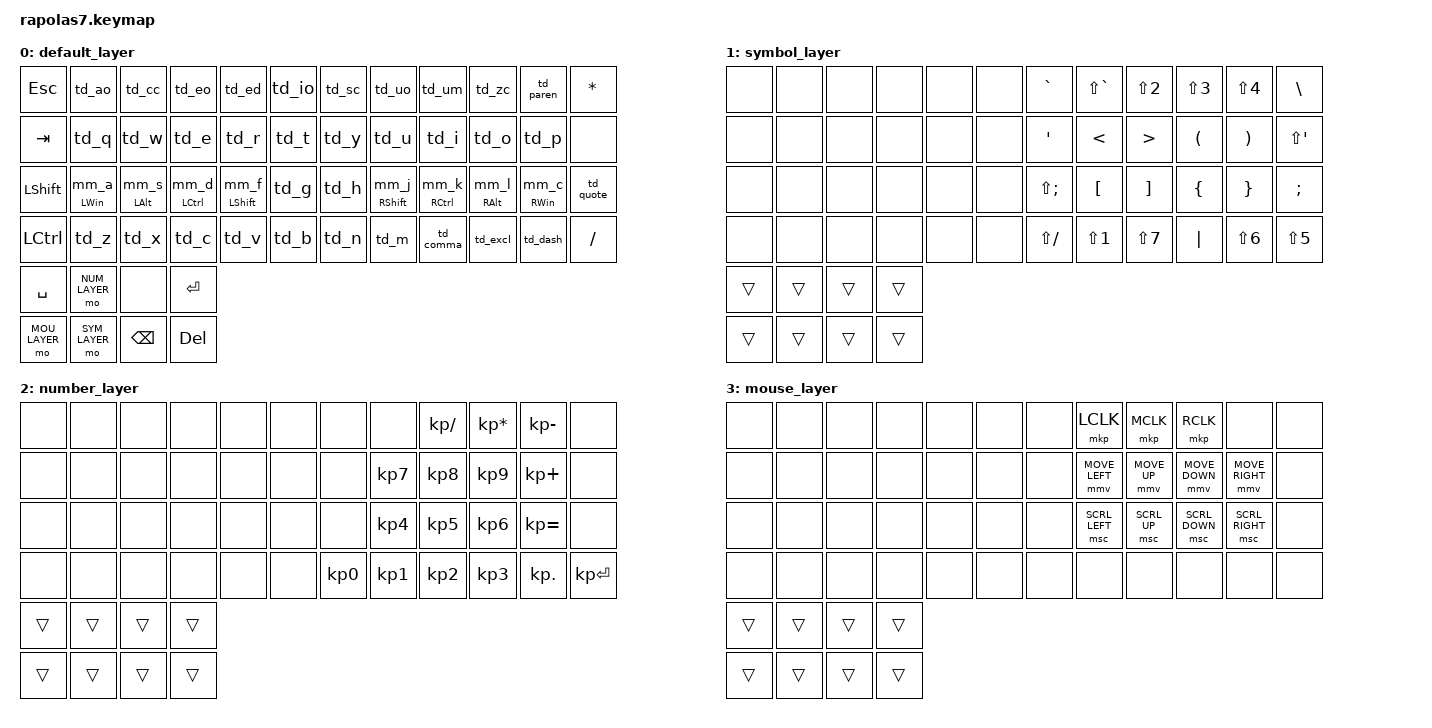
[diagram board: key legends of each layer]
#include <behaviors.dtsi>
#include <dt-bindings/zmk/keys.h>
#include <dt-bindings/zmk/mouse.h>
#include "zmk-helpers/helper.h"
#include <behaviors/unicode.dtsi>

#define KEYS_L 0 1 2 3 4 5 12 13 14 15 16 17 24 25 26 27 28 29 36 37 38 39 40 41 68 69 80 81
#define KEYS_R 6 7 8 9 10 11 18 19 20 21 22 23 30 31 32 33 34 35 42 43 44 45 46 47 69 70 82 83

#define DEF_LAYER 0
#define SYM_LAYER 1
#define NUM_LAYER 2
#define MOU_LAYER 3

/ {
    behaviors {
        /* -----------------------------------------------------------------
         * Mod-Morphs for Homerow Alpha Keys (Tap = Lowercase, Shift+Tap = Uppercase)
         * ----------------------------------------------------------------- */
        mm_a: mm_a { compatible = "zmk,behavior-mod-morph"; #binding-cells = <1>; bindings = <&kp A>, <&kp LS(A)>; mods = <(MOD_LSFT|MOD_RSFT)>; };
        mm_s: mm_s { compatible = "zmk,behavior-mod-morph"; #binding-cells = <1>; bindings = <&kp S>, <&kp LS(S)>; mods = <(MOD_LSFT|MOD_RSFT)>; };
        mm_d: mm_d { compatible = "zmk,behavior-mod-morph"; #binding-cells = <1>; bindings = <&kp D>, <&kp LS(D)>; mods = <(MOD_LSFT|MOD_RSFT)>; };
        mm_f: mm_f { compatible = "zmk,behavior-mod-morph"; #binding-cells = <1>; bindings = <&kp F>, <&kp LS(F)>; mods = <(MOD_LSFT|MOD_RSFT)>; };
        mm_j: mm_j { compatible = "zmk,behavior-mod-morph"; #binding-cells = <1>; bindings = <&kp J>, <&kp LS(J)>; mods = <(MOD_LSFT|MOD_RSFT)>; };
        mm_k: mm_k { compatible = "zmk,behavior-mod-morph"; #binding-cells = <1>; bindings = <&kp K>, <&kp LS(K)>; mods = <(MOD_LSFT|MOD_RSFT)>; };
        mm_l: mm_l { compatible = "zmk,behavior-mod-morph"; #binding-cells = <1>; bindings = <&kp L>, <&kp LS(L)>; mods = <(MOD_LSFT|MOD_RSFT)>; };
        mm_c: mm_c { compatible = "zmk,behavior-mod-morph"; #binding-cells = <1>; bindings = <&kp LS(SEMI)>, <&kp SEMI>; mods = <(MOD_LSFT|MOD_RSFT)>; };

        /* -----------------------------------------------------------------
         * Homerow Mod Hold-Taps paired with Mod-Morphs
         * ----------------------------------------------------------------- */
        hm_a: homerow_mod_a {
            compatible = "zmk,behavior-hold-tap";
            #binding-cells = <2>;
            flavor = "balanced";
            require-prior-idle-ms = <150>;
            tapping-term-ms = <280>;
            quick-tap-ms = <175>;
            bindings = <&kp>, <&mm_a>;
            hold-trigger-key-positions = <KEYS_R>;
            hold-trigger-on-release;
        };

        hm_s: homerow_mod_s {
            compatible = "zmk,behavior-hold-tap";
            #binding-cells = <2>;
            flavor = "balanced";
            tapping-term-ms = <280>;
            quick-tap-ms = <175>;
            require-prior-idle-ms = <150>;
            bindings = <&kp>, <&mm_s>;
            hold-trigger-key-positions = <KEYS_R>;
            hold-trigger-on-release;
        };

        hm_d: homerow_mod_d {
            compatible = "zmk,behavior-hold-tap";
            #binding-cells = <2>;
            flavor = "balanced";
            tapping-term-ms = <280>;
            quick-tap-ms = <175>;
            require-prior-idle-ms = <150>;
            bindings = <&kp>, <&mm_d>;
            hold-trigger-key-positions = <KEYS_R>;
            hold-trigger-on-release;
        };

        hm_f: homerow_mod_f {
            compatible = "zmk,behavior-hold-tap";
            #binding-cells = <2>;
            flavor = "balanced";
            tapping-term-ms = <280>;
            quick-tap-ms = <175>;
            require-prior-idle-ms = <150>;
            bindings = <&kp>, <&mm_f>;
            hold-trigger-key-positions = <KEYS_R>;
            hold-trigger-on-release;
        };

        hm_j: homerow_mod_j {
            compatible = "zmk,behavior-hold-tap";
            #binding-cells = <2>;
            flavor = "balanced";
            tapping-term-ms = <280>;
            quick-tap-ms = <175>;
            require-prior-idle-ms = <150>;
            bindings = <&kp>, <&mm_j>;
            hold-trigger-key-positions = <KEYS_L>;
            hold-trigger-on-release;
        };

        hm_k: homerow_mod_k {
            compatible = "zmk,behavior-hold-tap";
            #binding-cells = <2>;
            flavor = "balanced";
            tapping-term-ms = <280>;
            quick-tap-ms = <175>;
            require-prior-idle-ms = <150>;
            bindings = <&kp>, <&mm_k>;
            hold-trigger-key-positions = <KEYS_L>;
            hold-trigger-on-release;
        };

        hm_l: homerow_mod_l {
            compatible = "zmk,behavior-hold-tap";
            #binding-cells = <2>;
            flavor = "balanced";
            tapping-term-ms = <280>;
            quick-tap-ms = <175>;
            require-prior-idle-ms = <150>;
            bindings = <&kp>, <&mm_l>;
            hold-trigger-key-positions = <KEYS_L>;
            hold-trigger-on-release;
        };

        hm_c: homerow_mod_colon {
            compatible = "zmk,behavior-hold-tap";
            #binding-cells = <2>;
            flavor = "balanced";
            tapping-term-ms = <280>;
            quick-tap-ms = <175>;
            require-prior-idle-ms = <150>;
            bindings = <&kp>, <&mm_c>;
            hold-trigger-key-positions = <KEYS_L>;
            hold-trigger-on-release;
        };

        thumb_ht: thumb_layer_tap {
            compatible = "zmk,behavior-hold-tap";
            #binding-cells = <2>;
            flavor = "hold-preferred";
            tapping-term-ms = <200>;
            quick-tap-ms = <150>;
            bindings = <&mo>, <&kp>;
        };

        thumb_mt: thumb_mod_tap {
            compatible = "zmk,behavior-hold-tap";
            #binding-cells = <2>;
            flavor = "balanced";
            tapping-term-ms = <200>;
            quick-tap-ms = <175>;
            bindings = <&kp>, <&kp>;
        };

        /* Non-homerow Tap Dances (0-cell bindings safe on standard keys) */
        td_ao: td_ao { compatible = "zmk,behavior-tap-dance"; #binding-cells = <0>; tapping-term-ms = <200>; bindings = <&uc 0x0105 0>, <&uc 0x0104 0>; };
        td_cc: td_cc { compatible = "zmk,behavior-tap-dance"; #binding-cells = <0>; tapping-term-ms = <200>; bindings = <&uc 0x010D 0>, <&uc 0x010C 0>; };
        td_eo: td_eo { compatible = "zmk,behavior-tap-dance"; #binding-cells = <0>; tapping-term-ms = <200>; bindings = <&uc 0x0119 0>, <&uc 0x0118 0>; };
        td_ed: td_ed { compatible = "zmk,behavior-tap-dance"; #binding-cells = <0>; tapping-term-ms = <200>; bindings = <&uc 0x0117 0>, <&uc 0x0116 0>; };
        td_io: td_io { compatible = "zmk,behavior-tap-dance"; #binding-cells = <0>; tapping-term-ms = <200>; bindings = <&uc 0x012F 0>, <&uc 0x012E 0>; };
        td_sc: td_sc { compatible = "zmk,behavior-tap-dance"; #binding-cells = <0>; tapping-term-ms = <200>; bindings = <&uc 0x0161 0>, <&uc 0x0160 0>; };
        td_uo: td_uo { compatible = "zmk,behavior-tap-dance"; #binding-cells = <0>; tapping-term-ms = <200>; bindings = <&uc 0x0173 0>, <&uc 0x0172 0>; };
        td_um: td_um { compatible = "zmk,behavior-tap-dance"; #binding-cells = <0>; tapping-term-ms = <200>; bindings = <&uc 0x016B 0>, <&uc 0x016A 0>; };
        td_zc: td_zc { compatible = "zmk,behavior-tap-dance"; #binding-cells = <0>; tapping-term-ms = <200>; bindings = <&uc 0x017E 0>, <&uc 0x017D 0>; };

        td_q: td_q { compatible = "zmk,behavior-tap-dance"; #binding-cells = <0>; tapping-term-ms = <200>; bindings = <&kp Q>, <&kp LS(Q)>; };
        td_w: td_w { compatible = "zmk,behavior-tap-dance"; #binding-cells = <0>; tapping-term-ms = <200>; bindings = <&kp W>, <&kp LS(W)>; };
        td_e: td_e { compatible = "zmk,behavior-tap-dance"; #binding-cells = <0>; tapping-term-ms = <200>; bindings = <&kp E>, <&kp LS(E)>; };
        td_r: td_r { compatible = "zmk,behavior-tap-dance"; #binding-cells = <0>; tapping-term-ms = <200>; bindings = <&kp R>, <&kp LS(R)>; };
        td_t: td_t { compatible = "zmk,behavior-tap-dance"; #binding-cells = <0>; tapping-term-ms = <200>; bindings = <&kp T>, <&kp LS(T)>; };
        td_y: td_y { compatible = "zmk,behavior-tap-dance"; #binding-cells = <0>; tapping-term-ms = <200>; bindings = <&kp Y>, <&kp LS(Y)>; };
        td_u: td_u { compatible = "zmk,behavior-tap-dance"; #binding-cells = <0>; tapping-term-ms = <200>; bindings = <&kp U>, <&kp LS(U)>; };
        td_i: td_i { compatible = "zmk,behavior-tap-dance"; #binding-cells = <0>; tapping-term-ms = <200>; bindings = <&kp I>, <&kp LS(I)>; };
        td_o: td_o { compatible = "zmk,behavior-tap-dance"; #binding-cells = <0>; tapping-term-ms = <200>; bindings = <&kp O>, <&kp LS(O)>; };
        td_p: td_p { compatible = "zmk,behavior-tap-dance"; #binding-cells = <0>; tapping-term-ms = <200>; bindings = <&kp P>, <&kp LS(P)>; };
        td_g: td_g { compatible = "zmk,behavior-tap-dance"; #binding-cells = <0>; tapping-term-ms = <200>; bindings = <&kp G>, <&kp LS(G)>; };
        td_h: td_h { compatible = "zmk,behavior-tap-dance"; #binding-cells = <0>; tapping-term-ms = <200>; bindings = <&kp H>, <&kp LS(H)>; };
        td_z: td_z { compatible = "zmk,behavior-tap-dance"; #binding-cells = <0>; tapping-term-ms = <200>; bindings = <&kp Z>, <&kp LS(Z)>; };
        td_x: td_x { compatible = "zmk,behavior-tap-dance"; #binding-cells = <0>; tapping-term-ms = <200>; bindings = <&kp X>, <&kp LS(X)>; };
        td_c: td_c { compatible = "zmk,behavior-tap-dance"; #binding-cells = <0>; tapping-term-ms = <200>; bindings = <&kp C>, <&kp LS(C)>; };
        td_v: td_v { compatible = "zmk,behavior-tap-dance"; #binding-cells = <0>; tapping-term-ms = <200>; bindings = <&kp V>, <&kp LS(V)>; };
        td_b: td_b { compatible = "zmk,behavior-tap-dance"; #binding-cells = <0>; tapping-term-ms = <200>; bindings = <&kp B>, <&kp LS(B)>; };
        td_n: td_n { compatible = "zmk,behavior-tap-dance"; #binding-cells = <0>; tapping-term-ms = <200>; bindings = <&kp N>, <&kp LS(N)>; };
        td_m: td_m { compatible = "zmk,behavior-tap-dance"; #binding-cells = <0>; tapping-term-ms = <200>; bindings = <&kp M>, <&kp LS(M)>; };

        td_dash: td_under_hyphen_endash {
            compatible = "zmk,behavior-tap-dance";
            #binding-cells = <0>;
            tapping-term-ms = <200>;
            bindings = <&kp UNDER>, <&kp MINUS>, <&uc 0x2013 0>;
        };
        td_quote: td_startquote_endquote_apostrophe {
            compatible = "zmk,behavior-tap-dance";
            #binding-cells = <0>;
            tapping-term-ms = <200>;
            bindings = <&uc 0x201E 0>, <&uc 0x201D 0>, <&kp AMPERSAND>;
        };
        td_comma: td_comma_dot {
            compatible = "zmk,behavior-tap-dance";
            #binding-cells = <0>;
            tapping-term-ms = <200>;
            bindings = <&kp COMMA>, <&kp DOT>;
        };
        td_excl: td_excl_qmark {
            compatible = "zmk,behavior-tap-dance";
            #binding-cells = <0>;
            tapping-term-ms = <200>;
            bindings = <&kp EXCL>, <&kp QMARK>;
        };
        td_colon: td_colon_semicolon {
            compatible = "zmk,behavior-tap-dance";
            #binding-cells = <0>;
            tapping-term-ms = <200>;
            bindings = <&kp COLON>, <&kp SEMI>;
        };
        td_paren: td_openparen_closedparen {
            compatible = "zmk,behavior-tap-dance";
            #binding-cells = <0>;
            tapping-term-ms = <200>;
            bindings = <&kp LPAR>, <&kp RPAR>;
        };

        mmv { time-to-max-speed-ms = <300>; };
        msc { time-to-max-speed-ms = <300>; };
    };
};

&uc {
    default-mode = <UC_MODE_WIN_COMPOSE>;
};

/ {
    keymap {
        compatible = "zmk,keymap";

        default_layer {
            bindings = <
            &kp ESCAPE  &td_ao            &td_cc            &td_eo            &td_ed            &td_io    &td_sc   &td_uo            &td_um            &td_zc           &td_paren         &kp ASTERISK
            &kp TAB     &td_q             &td_w             &td_e             &td_r             &td_t     &td_y    &td_u             &td_i             &td_o            &td_p             &none
            &kp LSHIFT  &hm_a LWIN 0      &hm_s LALT 0      &hm_d LCTRL 0     &hm_f LSHFT 0     &td_g     &td_h    &hm_j RSHFT 0     &hm_k RCTRL 0     &hm_l RALT 0     &hm_c RWIN 0      &td_quote
            &kp LCTRL   &td_z             &td_x             &td_c             &td_v             &td_b     &td_n    &td_m             &td_comma         &td_excl         &td_dash          &kp SLASH
            &kp SPACE     &mo NUM_LAYER   &none             &kp ENTER
            &mo MOU_LAYER &mo SYM_LAYER   &kp BACKSPACE     &kp DELETE
            >;
        };

        symbol_layer {
            bindings = <
            &none &none &none &none &none &none    &kp GRAVE       &kp LS(GRAVE)   &kp LS(N2)      &kp LS(N3)      &kp LS(N4)   &kp BSLH
            &none &none &none &none &none &none    &kp SQT         &kp LT          &kp GT          &kp LPAR        &kp RPAR     &kp LS(SQT)
            &none &none &none &none &none &none    &kp LS(SEMI)    &kp LBKT        &kp RBKT        &kp LBRC        &kp RBRC     &kp SEMI
            &none &none &none &none &none &none    &kp LS(SLASH)   &kp LS(N1)      &kp LS(N7)      &kp PIPE        &kp LS(N6)   &kp LS(N5)
            &trans &trans &trans &trans
            &trans &trans &trans &trans
            >;
        };

        number_layer {
            bindings = <
            &none &none &none &none &none &none    &none      &none       &kp KP_DIVIDE   &kp KP_MULTIPLY &kp KP_SUBTRACT &none
            &none &none &none &none &none &none    &none      &kp KP_N7   &kp KP_N8       &kp KP_N9       &kp KP_PLUS     &none
            &none &none &none &none &none &none    &none      &kp KP_N4   &kp KP_N5       &kp KP_N6       &kp KP_EQUAL    &none
            &none &none &none &none &none &none    &kp KP_N0  &kp KP_N1   &kp KP_N2       &kp KP_N3       &kp KP_DOT      &kp KP_ENTER
            &trans &trans &trans &trans
            &trans &trans &trans &trans
            >;
        };

        mouse_layer {
            bindings = <
            &none &none &none &none &none &none    &none &mkp LCLK      &mkp MCLK     &mkp RCLK      &none           &none
            &none &none &none &none &none &none    &none &mmv MOVE_LEFT &mmv MOVE_UP  &mmv MOVE_DOWN &mmv MOVE_RIGHT &none
            &none &none &none &none &none &none    &none &msc SCRL_LEFT &msc SCRL_UP  &msc SCRL_DOWN &msc SCRL_RIGHT &none
            &none &none &none &none &none &none    &none &none &none &none &none &none
            &trans &trans &trans &trans
            &trans &trans &trans &trans
            >;
        };
    };
};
